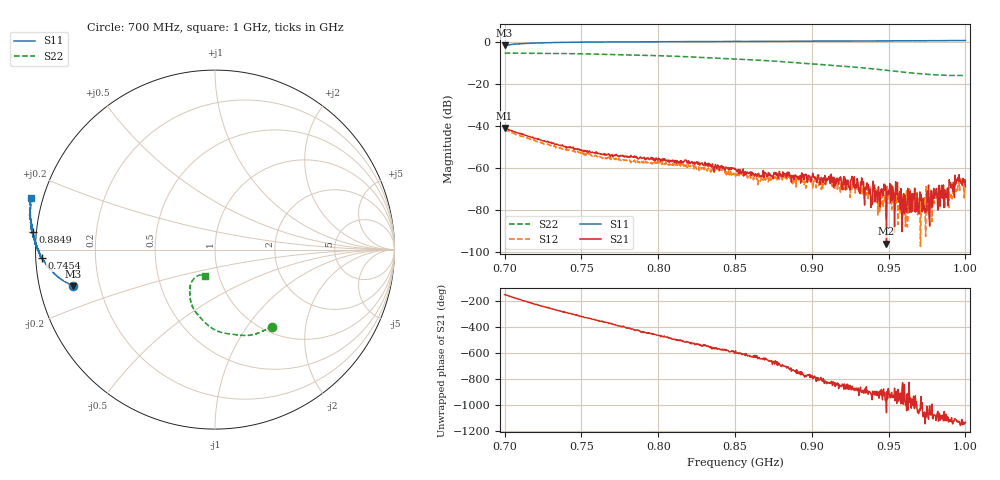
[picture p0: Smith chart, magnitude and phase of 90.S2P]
! C:\Users\rflab\Downloads\Lab5_KD_ZW\Q2\728 MHz\90.S2P
! Touchstone 1.1 file saved by VNA.EXE V1.65 (www.ke5fx.com/gpib/readme.htm)
! 11/18/2024 9:14:15 PM
!  Source: HEWLETT PACKARD,8753D,0,6.14
!  Min freq: 7.000000E+008 Hz
!  Max freq: 1.000000E+009 Hz
!  Points: 801
!  Params: S11 S21 S12 S22
# GHZ S MA R 50
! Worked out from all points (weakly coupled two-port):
!   801 points, 700 MHz to 1 GHz, reference 50 ohm
!   highest |S21| = -40.92 dB at 700 MHz (marker M1); lowest = -95.9 dB at 948.6 MHz (marker M2)
!   lowest |S11| = -1.8 dB at 700 MHz (marker M3), VSWR 9.82, Z = 5.17 - j6.27 ohm
!   |S11| at or under -10 dB: nowhere
!   |S22| runs from -16.1 to -5.5 dB; largest |S21 - S12| = 0.0028
!   S11 on the Smith chart (normalised r, x): 700 MHz: 0.10, -0.13; 745.4 MHz: 0.02, -0.02; 884.9 MHz: -0.01, +0.05; 1 GHz: -0.03, +0.14
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0.7  0.8152 -165.5  0.008991 -148.0  0.008407 -165.9  0.5336 -53.7
0.745375  0.9673 -177.3  0.002802 57.9  0.002551 37.6  0.5179 -66.8
0.75025  0.9721 -177.9  0.002681 42.0  0.002229 22.5  0.5132 -68.5
0.800125  0.9964 178.6  0.001696 -103.3  0.001448 -122.9  0.4639 -85.2
0.85  1.012 176.1  0.000923 127.8  0.000724 101.4  0.3859 -102.5
0.884875  1.019 174.6  0.000795 5.1  0.000641 -23.5  0.3259 -114.1
0.90025  1.025 173.9  0.000634 -53.8  0.000532 -88.1  0.2956 -118.2
0.911125  1.028 173.6  0.000629 -105.4  0.000581 -118.9  0.2767 -120.6
0.926875  1.033 172.5  0.000429 -161.6  0.000499 -178.7  0.2491 -123.7
0.936625  1.038 171.6  0.000409 162.5  0.000188 159.3  0.232 -125.3
0.938125  1.038 171.5  0.000297 174.2  0.000243 150.2  0.2286 -125.6
0.94675  1.041 170.7  0.000233 -156.8  0.00017 142.7  0.2121 -126.2
0.948625  1.045 170.5  1.6e-05 20.2  0.00015 158.0  0.2087 -126.2
0.950125  1.047 170.4  0.000297 -179.6  0.000243 110.5  0.2062 -126.2
0.95575  1.044 170.0  0.000452 137.1  0.000211 108.8  0.1956 -125.7
0.95875  1.047 169.8  3.1e-05 -150.1  0.000231 56.3  0.1905 -125.6
0.9655  1.049 169.4  9.5e-05 122.4  0.000161 67.5  0.18 -124.4
0.973375  1.05 168.5  0.000129 25.5  0.000201 7.7  0.1703 -122.2
0.98425  1.055 167.1  0.000275 -10.8  0.000242 -55.2  0.1608 -118.1
0.987625  1.056 166.4  0.000198 -30.7  0.000205 -49.0  0.1586 -116.6
0.99475  1.063 165.5  0.000507 -50.7  0.000274 -50.8  0.1574 -113.4
1  1.063 164.2  0.00036 -54.7  0.000342 -76.5  0.1587 -111.1
